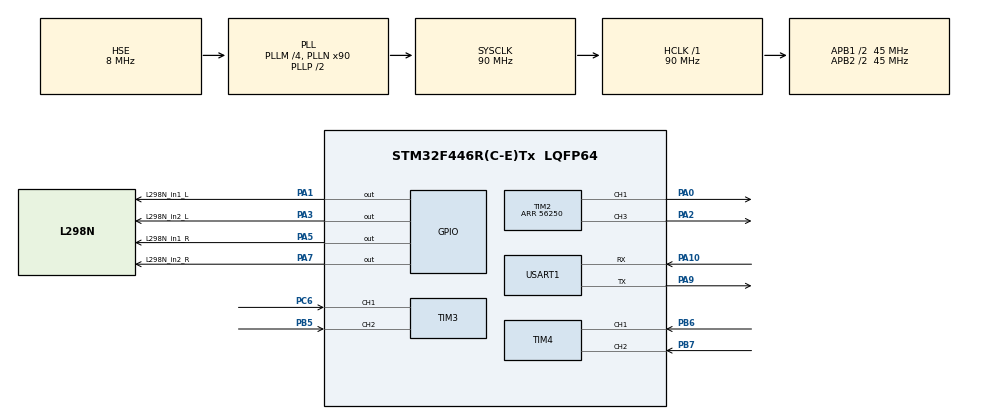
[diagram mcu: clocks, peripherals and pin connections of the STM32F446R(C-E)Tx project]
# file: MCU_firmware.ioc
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Mcu.Family=STM32F4
Mcu.Name=STM32F446R(C-E)Tx
Mcu.Package=LQFP64
NVIC.PriorityGroup=NVIC_PRIORITYGROUP_4
NVIC.TIM6_DAC_IRQn=true\:0\:0\:false\:false\:true\:true\:true\:true
NVIC.USART1_IRQn=true\:0\:0\:false\:false\:true\:true\:true\:true
PA0-WKUP.Signal=S_TIM2_CH1_ETR
PA1.GPIO_Label=L298N_in1_L
PA1.PinState=GPIO_PIN_SET
PA1.Signal=GPIO_Output
PA10.Mode=Asynchronous
PA10.Signal=USART1_RX
PA2.Signal=S_TIM2_CH3
PA3.GPIO_Label=L298N_in2_L
PA3.Signal=GPIO_Output
PA5.GPIO_Label=L298N_in1_R
PA5.PinState=GPIO_PIN_SET
PA5.Signal=GPIO_Output
PA7.GPIO_Label=L298N_in2_R
PA7.Signal=GPIO_Output
PA9.Mode=Asynchronous
PA9.Signal=USART1_TX
PB5.Signal=S_TIM3_CH2
PB6.Signal=S_TIM4_CH1
PB7.Signal=S_TIM4_CH2
PC6.Signal=S_TIM3_CH1
PH0-OSC_IN.Mode=HSE-External-Oscillator
PH0-OSC_IN.Signal=RCC_OSC_IN
PH1-OSC_OUT.Mode=HSE-External-Oscillator
PH1-OSC_OUT.Signal=RCC_OSC_OUT
ProjectManager.HeapSize=0x200
ProjectManager.StackSize=0x400
ProjectManager.TargetToolchain=STM32CubeIDE
RCC.AHBFreq_Value=90000000
RCC.APB1CLKDivider=RCC_HCLK_DIV2
RCC.APB1Freq_Value=45000000
RCC.APB1TimFreq_Value=90000000
RCC.APB2CLKDivider=RCC_HCLK_DIV2
RCC.APB2Freq_Value=45000000
RCC.APB2TimFreq_Value=90000000
RCC.CortexFreq_Value=90000000
RCC.HCLKFreq_Value=90000000
RCC.HSE_VALUE=8000000
RCC.PLLM=4
RCC.PLLN=90
RCC.PLLQ=4
RCC.PLLSourceVirtual=RCC_PLLSOURCE_HSE
RCC.SYSCLKFreq_VALUE=90000000
RCC.SYSCLKSource=RCC_SYSCLKSOURCE_PLLCLK
RCC.USBFreq_Value=45000000
RCC.VCOOutputFreq_Value=180000000
SH.S_TIM2_CH1_ETR.0=TIM2_CH1,PWM Generation1 CH1
SH.S_TIM2_CH3.0=TIM2_CH3,PWM Generation3 CH3
SH.S_TIM3_CH1.0=TIM3_CH1,Encoder_Interface
SH.S_TIM3_CH2.0=TIM3_CH2,Encoder_Interface
SH.S_TIM4_CH1.0=TIM4_CH1,Encoder_Interface
SH.S_TIM4_CH2.0=TIM4_CH2,Encoder_Interface
TIM2.Channel-PWM\ Generation1\ CH1=TIM_CHANNEL_1
TIM2.Channel-PWM\ Generation3\ CH3=TIM_CHANNEL_3
TIM2.CounterMode=TIM_COUNTERMODE_CENTERALIGNED1
TIM2.Period=56250
TIM3.EncoderMode=TIM_ENCODERMODE_TI12
TIM4.EncoderMode=TIM_ENCODERMODE_TI12
TIM6.Period=449
TIM6.Prescaler=9999
USART1.VirtualMode=VM_ASYNC
VP_TIM6_VS_ClockSourceINT.Mode=Enable_Timer
board=custom

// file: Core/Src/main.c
/* USER CODE BEGIN Header */
/**
  ******************************************************************************
  * @file           : main.c
  * @brief          : Main program body
  ******************************************************************************
  * @attention
  *
  * Copyright (c) 2026 STMicroelectronics.
  * All rights reserved.
  *
  * This software is licensed under terms that can be found in the LICENSE file
  * in the root directory of this software component.
  * If no LICENSE file comes with this software, it is provided AS-IS.
  *
  ******************************************************************************
  */
/* USER CODE END Header */
#include "main.h"
#include "tim.h"
#include "usart.h"
#include "gpio.h"

/* USER CODE BEGIN PV */
char byte_rx; //received byte
char buff[BUFFER_SIZE]; //buffer for storing the message
char msg[32]; //msg to transmit

uint8_t idx = 0; // index for cycling the buffer

float velocity_rads_r;
float velocity_rads_l;
float pos_rads_r;
float pos_rads_l;

float vel_ref_r;
float vel_ref_l;

float cmd_r;
float cmd_l;

L298N_t motor_r;
Encoder_t encoder_r;
pid_t pid_r;
L298N_t motor_l;
Encoder_t encoder_l;
pid_t pid_l;
/* USER CODE END PV */

void SystemClock_Config(void);

int main(void)
{

  /* MCU Configuration--------------------------------------------------------*/

  /* Reset of all peripherals, Initializes the Flash interface and the Systick. */
  HAL_Init();

  /* Configure the system clock */
  SystemClock_Config();

  /* Initialize all configured peripherals */
  MX_GPIO_Init();
  MX_TIM2_Init();
  MX_TIM3_Init();
  MX_TIM6_Init();
  MX_TIM4_Init();
  MX_USART1_UART_Init();
  /* USER CODE BEGIN 2 */
  /*MOTOR DRIVER*/
   driverInit(&motor_r, &htim2, TIM_CHANNEL_1, L298N_in1_R_Pin, L298N_in2_R_Pin, L298N_in1_R_GPIO_Port, L298N_in2_R_GPIO_Port);
   driverInit(&motor_l, &htim2, TIM_CHANNEL_3, L298N_in1_L_Pin, L298N_in2_L_Pin, L298N_in1_L_GPIO_Port, L298N_in2_L_GPIO_Port);

   /*ENCODER*/
   encoder_init(&encoder_r, &htim4, ENCODER_RES_4, 11);
   encoder_init(&encoder_l, &htim3, ENCODER_RES_4, 11);

   /*CONTROLLER PID*/
   pid_create(&pid_r, &velocity_rads_r, &cmd_r, &vel_ref_r, 0.05, 0.1, 0.0095);
   pid_create(&pid_l, &velocity_rads_l, &cmd_l, &vel_ref_l, 0.05, 0.1, 0.0095);
   pid_auto(&pid_r);
   pid_auto(&pid_l);
   pid_limits(&pid_r, -1.0, 1.0);
   pid_limits(&pid_l, -1.0, 1.0);

   /*SERIAL*/
   HAL_TIM_Base_Start_IT(&htim6);
   HAL_UART_Receive_IT(&huart1, &byte_rx, 1);

  /* USER CODE END 2 */

  /* Infinite loop */
  while (1)
  {

  }
}

void SystemClock_Config(void)
{
  RCC_OscInitTypeDef RCC_OscInitStruct = {0};
  RCC_ClkInitTypeDef RCC_ClkInitStruct = {0};

  /** Configure the main internal regulator output voltage
  */
  __HAL_RCC_PWR_CLK_ENABLE();
  __HAL_PWR_VOLTAGESCALING_CONFIG(PWR_REGULATOR_VOLTAGE_SCALE3);

  /** Initializes the RCC Oscillators according to the specified parameters
  * in the RCC_OscInitTypeDef structure.
  */
  RCC_OscInitStruct.OscillatorType = RCC_OSCILLATORTYPE_HSE;
  RCC_OscInitStruct.HSEState = RCC_HSE_ON;
  RCC_OscInitStruct.PLL.PLLState = RCC_PLL_ON;
  RCC_OscInitStruct.PLL.PLLSource = RCC_PLLSOURCE_HSE;
  RCC_OscInitStruct.PLL.PLLM = 4;
  RCC_OscInitStruct.PLL.PLLN = 90;
  RCC_OscInitStruct.PLL.PLLP = RCC_PLLP_DIV2;
  RCC_OscInitStruct.PLL.PLLQ = 4;
  RCC_OscInitStruct.PLL.PLLR = 2;
  if (HAL_RCC_OscConfig(&RCC_OscInitStruct) != HAL_OK)
  {
    Error_Handler();
  }

  /** Initializes the CPU, AHB and APB buses clocks
  */
  RCC_ClkInitStruct.ClockType = RCC_CLOCKTYPE_HCLK|RCC_CLOCKTYPE_SYSCLK
                              |RCC_CLOCKTYPE_PCLK1|RCC_CLOCKTYPE_PCLK2;
  RCC_ClkInitStruct.SYSCLKSource = RCC_SYSCLKSOURCE_PLLCLK;
  RCC_ClkInitStruct.AHBCLKDivider = RCC_SYSCLK_DIV1;
  RCC_ClkInitStruct.APB1CLKDivider = RCC_HCLK_DIV2;
  RCC_ClkInitStruct.APB2CLKDivider = RCC_HCLK_DIV2;

  if (HAL_RCC_ClockConfig(&RCC_ClkInitStruct, FLASH_LATENCY_2) != HAL_OK)
  {
    Error_Handler();
  }
}

void Error_Handler(void)
{
  __disable_irq();
  while (1)
  {
  }
}
